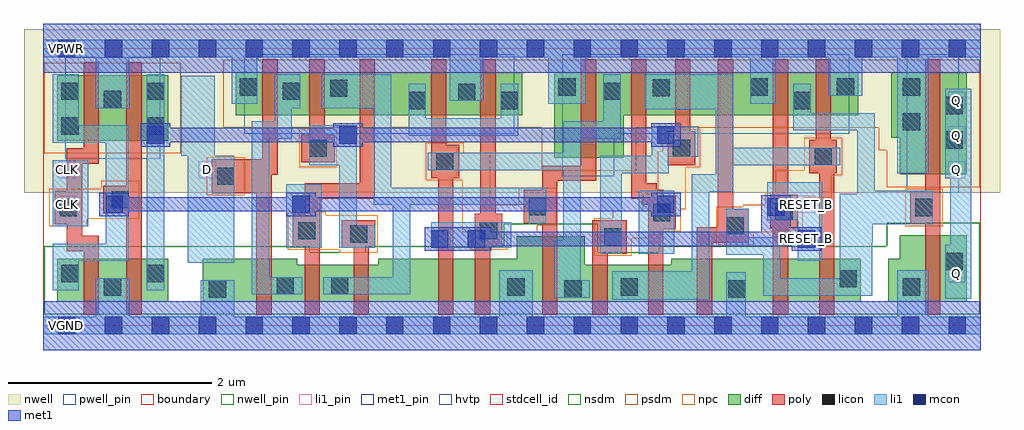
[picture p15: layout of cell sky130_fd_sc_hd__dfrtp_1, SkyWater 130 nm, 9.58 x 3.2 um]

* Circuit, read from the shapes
.subckt sky130_fd_sc_hd__dfrtp_1 CLK D Q RESET_B VGND VNB VPB VPWR
XM1 VGND CLK n1 VNB sky130_fd_pr__nfet_01v8 w=0.42 l=0.15
XM2 n2 n1 VGND VNB sky130_fd_pr__nfet_01v8 w=0.42 l=0.15
XM3 n3 D VGND VNB sky130_fd_pr__nfet_01v8 w=0.42 l=0.15
XM4 n4 n1 n3 VNB sky130_fd_pr__nfet_01v8 w=0.36 l=0.15
XM5 n5 n2 n4 VNB sky130_fd_pr__nfet_01v8 w=0.36 l=0.15
XM6 n6 n7 n5 VNB sky130_fd_pr__nfet_01v8 w=0.42 l=0.15
XM7 VGND RESET_B n6 VNB sky130_fd_pr__nfet_01v8 w=0.42 l=0.15
XM8 n7 n4 VGND VNB sky130_fd_pr__nfet_01v8 w=0.64 l=0.15
XM9 n8 n2 n7 VNB sky130_fd_pr__nfet_01v8 w=0.36 l=0.15
XM10 n9 n1 n8 VNB sky130_fd_pr__nfet_01v8 w=0.36 l=0.15
XM11 VGND n10 n9 VNB sky130_fd_pr__nfet_01v8 w=0.42 l=0.15
XM12 n11 RESET_B VGND VNB sky130_fd_pr__nfet_01v8 w=0.42 l=0.15
XM13 n10 n8 n11 VNB sky130_fd_pr__nfet_01v8 w=0.42 l=0.15
XM14 Q n10 VGND VNB sky130_fd_pr__nfet_01v8 w=0.65 l=0.15
XM15 VPWR CLK n1 VPB sky130_fd_pr__pfet_01v8_hvt w=0.64 l=0.15
XM16 n2 n1 VPWR VPB sky130_fd_pr__pfet_01v8_hvt w=0.64 l=0.15
XM17 n3 D VPWR VPB sky130_fd_pr__pfet_01v8_hvt w=0.42 l=0.15
XM18 n4 n2 n3 VPB sky130_fd_pr__pfet_01v8_hvt w=0.42 l=0.15
XM19 n12 n1 n4 VPB sky130_fd_pr__pfet_01v8_hvt w=0.42 l=0.15
XM20 VPWR n7 n12 VPB sky130_fd_pr__pfet_01v8_hvt w=0.42 l=0.15
XM21 n12 RESET_B VPWR VPB sky130_fd_pr__pfet_01v8_hvt w=0.42 l=0.15
XM22 n7 n4 VPWR VPB sky130_fd_pr__pfet_01v8_hvt w=0.84 l=0.15
XM23 n8 n1 n7 VPB sky130_fd_pr__pfet_01v8_hvt w=0.42 l=0.15
XM24 n13 n2 n8 VPB sky130_fd_pr__pfet_01v8_hvt w=0.42 l=0.15
XM25 VPWR n10 n13 VPB sky130_fd_pr__pfet_01v8_hvt w=0.42 l=0.15
XM26 n10 RESET_B VPWR VPB sky130_fd_pr__pfet_01v8_hvt w=0.42 l=0.15
XM27 VPWR n8 n10 VPB sky130_fd_pr__pfet_01v8_hvt w=0.42 l=0.15
XM28 Q n10 VPWR VPB sky130_fd_pr__pfet_01v8_hvt w=1 l=0.15
.ends

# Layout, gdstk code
import gdstk
lib = gdstk.Library(unit=1e-6, precision=1e-09)
def R(c, l, rs):  # rectangles x0, y0, x1, y1
    for r in rs: c.add(gdstk.rectangle(r[:2], r[2:], *l))
def A(c, l, x, y, w, h, nx, ny, dx, dy):  # array of equal rectangles
    R(c, l, [(x+i*dx, y+j*dy, x+i*dx+w, y+j*dy+h) for i in range(nx) for j in range(ny)])
nwell_pin = (64, 16)
nwell = (64, 20)
diff = (65, 20)
poly = (66, 20)
licon = (66, 44)
li1_pin = (67, 16)
li1 = (67, 20)
mcon = (67, 44)
met1_pin = (68, 16)
met1 = (68, 20)
hvtp = (78, 44)
stdcell_id = (81, 4)
nsdm = (93, 44)
psdm = (94, 20)
npc = (95, 20)
pwell_pin = (122, 16)
boundary = (235, 4)

sky130_fd_sc_hd__dfrtp_1 = lib.new_cell('sky130_fd_sc_hd__dfrtp_1')
R(sky130_fd_sc_hd__dfrtp_1, nwell_pin, [(0.145,2.635,0.315,2.805)])
R(sky130_fd_sc_hd__dfrtp_1, nwell, [(-0.19,1.305,9.39,2.91)])
R(sky130_fd_sc_hd__dfrtp_1, diff, [(0.135,0.235,1.225,0.655), (1.565,0.235,8.025,0.595), (8.295,0.235,9.065,0.655), (1.565,0.595,2.49,0.655), (3.285,0.595,5.315,0.655), (6.165,0.595,8.025,0.655), (4.645,0.655,5.315,0.875), (8.405,0.655,9.065,0.885), (8.405,1.485,9.065,1.845), (5.015,1.645,5.695,2.065), (0.135,1.815,1.225,2.455), (8.325,1.845,9.065,2.485), (1.89,2.065,4.7,2.485), (5.015,2.065,8,2.485)])
R(sky130_fd_sc_hd__dfrtp_1, poly, [(0.395,0.105,0.545,0.73), (0.815,0.105,0.965,1.1), (2.09,0.105,2.24,1.3), (2.565,0.105,2.715,0.765), (3.045,0.105,3.195,0.765), (3.875,0.105,4.025,1.445), (4.235,0.105,4.385,0.765), (4.895,0.105,5.045,1.005), (5.39,0.105,5.54,0.705), (5.935,0.105,6.085,0.945), (6.415,0.105,6.565,0.815), (7.16,0.105,7.31,0.955), (7.615,0.105,7.765,1.495), (8.655,0.105,8.805,0.995), (5.39,0.705,5.725,1.035), (0.23,0.73,0.545,0.88), (2.45,0.765,2.72,1.095), (2.93,0.765,3.26,1.035), (4.235,0.765,4.505,1.095), (6.415,0.815,6.925,0.965), (0.23,0.88,0.38,0.995), (5.935,0.945,6.205,1.185), (7.135,0.955,7.405,1.285), (6.62,0.965,6.925,1.145), (0.11,0.995,0.38,1.325), (8.51,0.995,8.805,1.325), (4.715,1.005,5.045,1.335), (2.565,1.095,2.72,1.245), (4.29,1.095,4.44,2.615), (0.59,1.1,0.965,1.37), (6.62,1.145,6.77,2.615), (5.875,1.185,6.205,1.245), (2.565,1.245,3.255,1.395), (5.77,1.245,6.205,1.275), (5.77,1.275,6.085,1.335), (7.16,1.285,7.31,2.615), (1.655,1.3,2.24,1.48), (0.23,1.325,0.38,1.59), (8.655,1.325,8.805,2.615), (4.895,1.335,5.045,1.42), (5.77,1.335,6.02,1.395), (0.815,1.37,0.965,2.585), (3.105,1.395,3.255,2.615), (5.77,1.395,5.92,2.615), (4.895,1.42,5.425,1.57), (3.805,1.445,4.08,1.775), (1.655,1.48,2.3,1.63), (7.52,1.495,7.79,1.825), (5.275,1.57,5.425,2.615), (6.13,1.575,6.4,1.905), (0.23,1.59,0.545,1.74), (2.53,1.605,2.86,1.875), (2.15,1.63,2.3,2.615), (0.395,1.74,0.545,2.585), (3.805,1.775,3.955,2.615), (7.58,1.825,7.73,2.615), (2.61,1.875,2.76,2.615), (6.2,1.905,6.35,2.615)])
R(sky130_fd_sc_hd__dfrtp_1, licon, [(1.625,0.275,1.795,0.445), (5.115,0.275,5.285,0.445), (6.725,0.275,6.895,0.445), (0.595,0.295,0.765,0.465), (4.555,0.295,4.725,0.465), (5.665,0.295,5.835,0.465), (8.435,0.295,8.605,0.465), (2.29,0.305,2.46,0.475), (2.825,0.305,2.995,0.475), (7.815,0.375,7.985,0.545), (0.175,0.425,0.345,0.595), (1.015,0.425,1.185,0.595), (8.855,0.545,9.025,0.715), (5.505,0.785,5.675,0.955), (3.01,0.815,3.18,0.985), (2.5,0.845,2.67,1.015), (4.285,0.845,4.455,1.015), (6.705,0.895,6.875,1.065), (5.985,1.025,6.155,1.195), (7.185,1.035,7.355,1.205), (0.16,1.075,0.33,1.245), (8.56,1.075,8.73,1.245), (4.765,1.085,4.935,1.255), (0.67,1.15,0.84,1.32), (1.705,1.38,1.875,1.55), (3.855,1.525,4.025,1.695), (7.57,1.575,7.74,1.745), (2.61,1.655,2.78,1.825), (6.18,1.655,6.35,1.825), (8.855,1.735,9.025,1.905), (0.175,1.875,0.345,2.045), (1.015,1.875,1.185,2.045), (8.435,1.915,8.605,2.085), (8.855,2.075,9.025,2.245), (3.585,2.125,3.755,2.295), (4.49,2.125,4.66,2.295), (7.36,2.125,7.53,2.295), (0.595,2.135,0.765,2.305), (4.07,2.205,4.24,2.375), (0.175,2.215,0.345,2.385), (1.015,2.215,1.185,2.385), (2.35,2.215,2.52,2.385), (5.495,2.215,5.665,2.385), (2.815,2.245,2.985,2.415), (5.98,2.25,6.15,2.42), (1.93,2.255,2.1,2.425), (5.055,2.255,5.225,2.425), (6.94,2.255,7.11,2.425), (7.79,2.255,7.96,2.425), (8.435,2.255,8.605,2.425)])
A(sky130_fd_sc_hd__dfrtp_1, li1_pin, 8.88, 1.445, 0.17, 0.17, 1, 3, 0, 0.34)
R(sky130_fd_sc_hd__dfrtp_1, li1_pin, [(8.88,0.425,9.05,0.595), (7.405,0.765,7.575,0.935), (0.15,1.105,0.32,1.275), (7.405,1.105,7.575,1.275), (0.15,1.445,0.32,1.615), (1.525,1.445,1.695,1.615)])
R(sky130_fd_sc_hd__dfrtp_1, li1, [(0,-0.085,9.2,0.085), (0.515,0.085,0.845,0.465), (1.545,0.085,1.875,0.445), (4.475,0.085,4.805,0.545), (6.705,0.085,6.895,0.525), (8.38,0.085,8.685,0.545), (5.585,0.255,6.535,0.535), (8.855,0.265,9.11,0.795), (5.015,0.275,5.365,0.445), (7.065,0.295,8.135,0.465), (2.045,0.305,2.54,0.475), (2.745,0.305,3.6,0.475), (0.09,0.345,0.345,0.635), (1.015,0.345,1.185,2.465), (5.015,0.445,5.275,0.835), (7.065,0.465,7.235,0.695), (7.815,0.465,8.135,0.82), (2.045,0.475,2.215,1.835), (3.43,0.475,3.6,1.185), (6.365,0.535,6.535,1.315), (1.415,0.615,1.875,1.665), (0.09,0.635,0.84,0.805), (7.405,0.635,7.645,1.035), (6.705,0.695,7.235,0.865), (5.465,0.705,5.675,1.495), (5.845,0.705,6.195,1.325), (2.385,0.765,2.735,1.385), (2.905,0.765,3.26,0.985), (3.805,0.765,4.595,1.015), (8.9,0.795,9.11,1.445), (0.61,0.805,0.84,1.795), (7.815,0.82,8.14,0.995), (5.105,0.835,5.275,1.525), (6.705,0.865,6.925,1.145), (0.09,0.975,0.44,1.625), (2.905,0.985,3.075,1.575), (7.815,0.995,8.73,1.295), (4.765,1.005,4.935,1.185), (7.105,1.035,7.645,1.405), (3.245,1.185,4.935,1.355), (7.99,1.295,8.73,1.325), (6.365,1.315,6.77,1.485), (7.99,1.325,8.16,1.915), (3.245,1.355,3.415,2.135), (8.855,1.445,9.11,2.325), (6.6,1.485,6.77,1.575), (5.465,1.495,6.14,1.655), (8.38,1.495,8.685,2.635), (3.775,1.525,5.275,1.695), (2.61,1.575,3.075,1.965), (6.6,1.575,7.82,1.745), (5.465,1.655,6.43,1.665), (1.355,1.665,1.68,2.45), (5.97,1.665,6.43,1.955), (5.105,1.695,5.275,1.835), (6.6,1.745,6.77,2.125), (0.09,1.795,0.84,1.965), (2.045,1.835,2.44,2.005), (5.105,1.835,5.665,2.005), (3.585,1.865,4.66,2.035), (7.36,1.915,8.16,2.085), (0.09,1.965,0.345,2.465), (2.27,2.005,2.44,2.135), (5.495,2.005,5.665,2.465), (3.585,2.035,3.755,2.375), (4.49,2.035,4.66,2.375), (7.36,2.085,7.53,2.375), (5.9,2.125,6.77,2.465), (0.515,2.135,0.845,2.635), (2.27,2.135,2.52,2.465), (2.735,2.135,3.415,2.465), (1.85,2.175,2.1,2.635), (4.955,2.175,5.325,2.635), (6.94,2.175,7.19,2.635), (3.99,2.205,4.32,2.635), (7.71,2.255,8.04,2.635), (0,2.635,9.2,2.805)])
A(sky130_fd_sc_hd__dfrtp_1, mcon, 0.145, -0.085, 0.17, 0.17, 20, 2, 0.46, 2.72)
R(sky130_fd_sc_hd__dfrtp_1, mcon, [(3.805,0.765,3.975,0.935), (4.165,0.765,4.335,0.935), (7.405,0.765,7.575,0.935), (7.105,1.08,7.275,1.25), (0.61,1.105,0.78,1.275), (2.445,1.105,2.615,1.275), (6.025,1.105,6.195,1.275), (1.015,1.785,1.185,1.955), (2.905,1.785,3.075,1.955), (6.025,1.785,6.195,1.955)])
R(sky130_fd_sc_hd__dfrtp_1, met1_pin, [(0.145,-0.085,0.315,0.085), (0.145,2.635,0.315,2.805)])
R(sky130_fd_sc_hd__dfrtp_1, met1, [(0,-0.24,9.2,0.24), (3.745,0.735,4.395,0.78), (7.345,0.735,7.635,0.78), (3.745,0.78,7.635,0.92), (3.745,0.92,4.395,0.965), (7.045,0.92,7.635,0.965), (7.045,0.965,7.335,1.28), (0.55,1.075,0.84,1.12), (2.385,1.075,2.675,1.12), (5.965,1.075,6.255,1.12), (0.55,1.12,6.255,1.26), (0.55,1.26,0.84,1.305), (2.385,1.26,2.675,1.305), (5.965,1.26,6.255,1.305), (0.955,1.755,1.245,1.8), (2.845,1.755,3.135,1.8), (5.965,1.755,6.255,1.8), (0.955,1.8,6.255,1.94), (0.955,1.94,1.245,1.985), (2.845,1.94,3.135,1.985), (5.965,1.94,6.255,1.985), (0,2.48,9.2,2.96)])
R(sky130_fd_sc_hd__dfrtp_1, hvtp, [(8.475,1.305,8.985,2.665), (5.095,1.465,5.605,1.885), (0.215,1.635,1.145,2.635), (1.97,1.885,4.62,2.665), (5.095,1.885,7.91,2.665)])
R(sky130_fd_sc_hd__dfrtp_1, stdcell_id, [(0,0,9.2,2.72)])
R(sky130_fd_sc_hd__dfrtp_1, nsdm, [(0.01,0.11,9.19,0.72), (0.01,0.72,2.615,0.78), (3.16,0.72,5.44,0.78), (6.04,0.72,9.19,0.78), (4.52,0.78,5.44,1), (8.28,0.78,9.19,1.01)])
R(sky130_fd_sc_hd__dfrtp_1, psdm, [(8.28,1.36,9.19,1.72), (4.89,1.52,5.82,1.94), (0.01,1.69,1.35,2.58), (8.2,1.72,9.19,1.94), (1.765,1.94,9.19,2.61)])
R(sky130_fd_sc_hd__dfrtp_1, npc, [(5.405,0.685,5.775,0.855), (2.91,0.715,3.28,0.745), (2.4,0.745,3.28,1.085), (4.185,0.745,4.555,0.915), (6.605,0.795,6.975,0.915), (5.405,0.855,6.07,0.925), (4.11,0.915,4.85,0.985), (6.605,0.915,7.19,0.935), (5.405,0.925,6.255,1.055), (6.605,0.935,7.455,1.165), (0.06,0.975,0.43,1.05), (8.46,0.975,8.83,1.345), (4.11,0.985,5.035,1.185), (0.06,1.05,0.94,1.345), (5.59,1.055,6.255,1.125), (2.4,1.085,2.77,1.115), (5.885,1.125,6.255,1.14), (5.885,1.14,6.305,1.295), (6.87,1.165,7.455,1.185), (4.11,1.185,4.385,1.425), (4.665,1.185,5.035,1.355), (7.085,1.185,7.455,1.255), (7.085,1.255,7.74,1.305), (1.605,1.28,1.975,1.65), (6.03,1.295,6.305,1.555), (7.185,1.305,7.74,1.475), (0.57,1.345,0.94,1.42), (3.755,1.425,4.385,1.695), (7.185,1.475,7.84,1.525), (7.47,1.525,7.84,1.845), (2.51,1.555,2.88,1.925), (6.03,1.555,6.45,1.71), (3.755,1.695,4.125,1.795), (6.08,1.71,6.45,1.925)])
R(sky130_fd_sc_hd__dfrtp_1, pwell_pin, [(0.145,-0.085,0.315,0.085)])
R(sky130_fd_sc_hd__dfrtp_1, boundary, [(0,0,9.2,2.72)])
sky130_fd_sc_hd__dfrtp_1.add(gdstk.Label('VGND', (0.23,0), layer=68, texttype=5))
sky130_fd_sc_hd__dfrtp_1.add(gdstk.Label('VPWR', (0.23,2.72), layer=68, texttype=5))
sky130_fd_sc_hd__dfrtp_1.add(gdstk.Label('VPB', (0.23,2.72), layer=64, texttype=5))
sky130_fd_sc_hd__dfrtp_1.add(gdstk.Label('VNB', (0.23,0), layer=64, texttype=59))
sky130_fd_sc_hd__dfrtp_1.add(gdstk.Label('CLK', (0.235,1.19), layer=67, texttype=5))
sky130_fd_sc_hd__dfrtp_1.add(gdstk.Label('CLK', (0.235,1.53), layer=67, texttype=5))
sky130_fd_sc_hd__dfrtp_1.add(gdstk.Label('D', (1.61,1.53), layer=67, texttype=5))
sky130_fd_sc_hd__dfrtp_1.add(gdstk.Label('RESET_B', (7.49,1.19), layer=67, texttype=5))
sky130_fd_sc_hd__dfrtp_1.add(gdstk.Label('RESET_B', (7.49,0.85), layer=67, texttype=5))
sky130_fd_sc_hd__dfrtp_1.add(gdstk.Label('Q', (8.965,0.51), layer=67, texttype=5))
sky130_fd_sc_hd__dfrtp_1.add(gdstk.Label('Q', (8.965,1.53), layer=67, texttype=5))
sky130_fd_sc_hd__dfrtp_1.add(gdstk.Label('Q', (8.965,1.87), layer=67, texttype=5))
sky130_fd_sc_hd__dfrtp_1.add(gdstk.Label('Q', (8.965,2.21), layer=67, texttype=5))

lib.write_gds('sky130_fd_sc_hd__dfrtp_1.gds')
